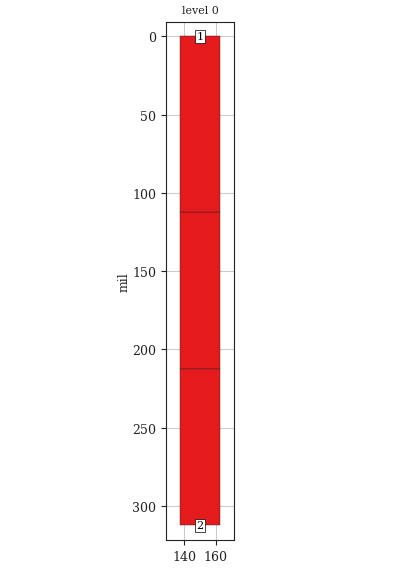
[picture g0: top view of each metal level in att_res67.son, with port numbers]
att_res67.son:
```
FTYP SONPROJ 4 ! Sonnet Project File
VER 12.56
HEADER
LIC sonnetexample.0000
DAT 02/24/2009 09:34:14
BUILT_BY_CREATED example "12.56" 11/23/2009 22:31:05
BUILT_BY_SAVED example "12.56"
MDATE 02/24/2009 09:34:14
HDATE 02/24/2009 09:34:14
END HEADER
DIM
FREQ MHZ
IND NH
LNG MIL
ANG DEG
CON /OH
CAP PF
RES OH
END DIM
FREQ
SIMPLE 200.0 400.0 100.0
END FREQ
CONTROL
SIMPLE
OPTIONS  -d 
SPEED 0
CACHE_ABS 1
TARG_ABS 300
Q_ACC N
END CONTROL
GEO
TMET "Lossless" 0 SUP 0 0 0 0
BMET "Lossless" 0 SUP 0 0 0 0
MET "16.77 Ohm/Sq. Resistor" 2 RES 16.77
BOX 1 300 312.5 48 50 20 0
      250 1 1 0 0 0 1 "Air"
      25 9.8 1 0 0 0 1 "Alumina"
POR1 STD
POLY 10 1
2
2 50 0 0 0 150 312.5 
POR1 STD
POLY 12 1
0
1 50 0 0 0 150 0 
NUM 3
0 5 0 N 9 1 1 100 100 0 0 0 Y
137.5 112.5
162.5 112.5
162.5 212.5
137.5 212.5
137.5 112.5
END
0 5 -1 N 10 1 1 100 100 0 0 0 Y
137.5 212.5
162.5 212.5
162.5 312.5
137.5 312.5
137.5 212.5
END
0 5 -1 N 12 1 1 100 100 0 0 0 Y
137.5 0
162.5 0
162.5 112.5
137.5 112.5
137.5 0
END
END GEO
OPT
MAX 100
VARS
END OPT
VARSWP
END VARSWP
```
